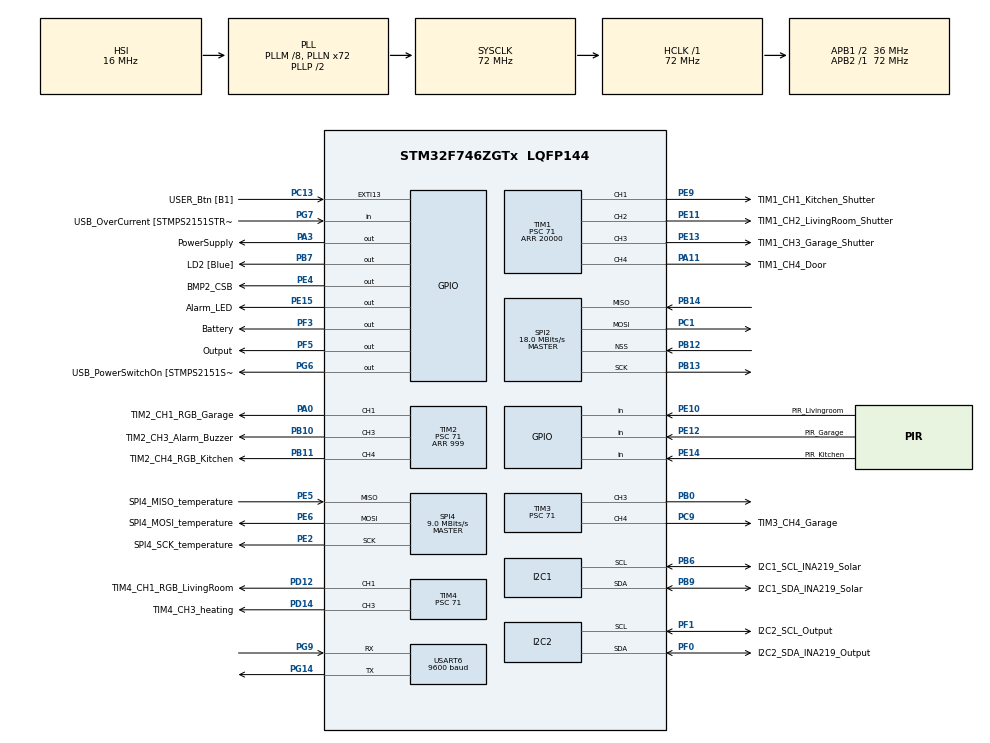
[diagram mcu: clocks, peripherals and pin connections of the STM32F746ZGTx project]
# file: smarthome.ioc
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I2C1.Timing=0x00808CD2
I2C2.Timing=0x00808CD2
Mcu.Family=STM32F7
Mcu.Name=STM32F746ZGTx
Mcu.Package=LQFP144
NVIC.EXTI15_10_IRQn=true\:0\:0\:false\:false\:true\:true\:true\:true
NVIC.PriorityGroup=NVIC_PRIORITYGROUP_4
NVIC.SPI4_IRQn=true\:0\:0\:false\:false\:true\:true\:true\:true
NVIC.TIM1_CC_IRQn=true\:0\:0\:false\:false\:true\:true\:true\:true
NVIC.TIM2_IRQn=true\:0\:0\:false\:false\:true\:true\:true\:true
NVIC.TIM3_IRQn=true\:0\:0\:false\:false\:true\:true\:true\:true
NVIC.TIM4_IRQn=true\:0\:0\:false\:false\:true\:true\:true\:true
NVIC.USART6_IRQn=true\:0\:0\:false\:false\:true\:true\:true\:true
PA0/WKUP.GPIO_Label=TIM2_CH1_RGB_Garage
PA0/WKUP.Signal=S_TIM2_CH1_ETR
PA11.GPIO_Label=TIM1_CH4_Door
PA11.Signal=S_TIM1_CH4
PA13.GPIO_Label=TMS
PA13.Mode=Serial_Wire
PA13.Signal=SYS_JTMS-SWDIO
PA14.GPIO_Label=TCK
PA14.Mode=Serial_Wire
PA14.Signal=SYS_JTCK-SWCLK
PA3.GPIO_Label=PowerSupply
PA3.Signal=GPIO_Output
PB0.Signal=S_TIM3_CH3
PB10.GPIO_Label=TIM2_CH3_Alarm_Buzzer
PB10.Signal=S_TIM2_CH3
PB11.GPIO_Label=TIM2_CH4_RGB_Kitchen
PB11.Signal=S_TIM2_CH4
PB12.Mode=NSS_Signal_Hard_Input
PB12.Signal=SPI2_NSS
PB13.Mode=Full_Duplex_Master
PB13.Signal=SPI2_SCK
PB14.Mode=Full_Duplex_Master
PB14.Signal=SPI2_MISO
PB3.GPIO_Label=SW0
PB3.Signal=SYS_JTDO-SWO
PB6.GPIO_Label=I2C1_SCL_INA219_Solar
PB6.Mode=I2C
PB6.Signal=I2C1_SCL
PB7.GPIO_Label=LD2 [Blue]
PB7.Signal=GPIO_Output
PB9.GPIO_Label=I2C1_SDA_INA219_Solar
PB9.Mode=I2C
PB9.Signal=I2C1_SDA
PC1.Mode=Full_Duplex_Master
PC1.Signal=SPI2_MOSI
PC13.GPIO_Label=USER_Btn [B1]
PC13.Signal=GPXTI13
PC14/OSC32_IN.Mode=LSE-External-Oscillator
PC14/OSC32_IN.Signal=RCC_OSC32_IN
PC15/OSC32_OUT.Mode=LSE-External-Oscillator
PC15/OSC32_OUT.Signal=RCC_OSC32_OUT
PC9.GPIO_Label=TIM3_CH4_Garage
PC9.Signal=S_TIM3_CH4
PD12.GPIO_Label=TIM4_CH1_RGB_LivingRoom
PD12.Signal=S_TIM4_CH1
PD14.GPIO_Label=TIM4_CH3_heating
PD14.Signal=S_TIM4_CH3
PD8.GPIO_Label=STLK_RX [STM32F103CBT6_PA3]
PD8.GPIO_PuPd=GPIO_PULLUP
PD8.Signal=USART3_TX
PD9.GPIO_Label=STLK_TX [STM32F103CBT6_PA2]
PD9.GPIO_PuPd=GPIO_PULLUP
PD9.Signal=USART3_RX
PE10.GPIO_Label=PIR_Livingroom
PE10.Signal=GPIO_Input
PE11.GPIO_Label=TIM1_CH2_LivingRoom_Shutter
PE11.Signal=S_TIM1_CH2
PE12.GPIO_Label=PIR_Garage
PE12.Signal=GPIO_Input
PE13.GPIO_Label=TIM1_CH3_Garage_Shutter
PE13.Signal=S_TIM1_CH3
PE14.GPIO_Label=PIR_Kitchen
PE14.Signal=GPIO_Input
PE15.GPIO_Label=Alarm_LED
PE15.Signal=GPIO_Output
PE2.GPIO_Label=SPI4_SCK_temperature
PE2.Mode=Full_Duplex_Master
PE2.Signal=SPI4_SCK
PE4.GPIO_Label=BMP2_CSB
PE4.Signal=GPIO_Output
PE5.GPIO_Label=SPI4_MISO_temperature
PE5.Mode=Full_Duplex_Master
PE5.Signal=SPI4_MISO
PE6.GPIO_Label=SPI4_MOSI_temperature
PE6.Mode=Full_Duplex_Master
PE6.Signal=SPI4_MOSI
PE9.GPIO_Label=TIM1_CH1_Kitchen_Shutter
PE9.Signal=S_TIM1_CH1
PF0.GPIO_Label=I2C2_SDA_INA219_Output
PF0.Mode=I2C
PF0.Signal=I2C2_SDA
PF1.GPIO_Label=I2C2_SCL_Output
PF1.Mode=I2C
PF1.Signal=I2C2_SCL
PF3.GPIO_Label=Battery
PF3.Signal=GPIO_Output
PF5.GPIO_Label=Output
PF5.Signal=GPIO_Output
PG14.Mode=Asynchronous
PG14.Signal=USART6_TX
PG6.GPIO_Label=USB_PowerSwitchOn [STMPS2151STR_EN]
PG6.Signal=GPIO_Output
PG7.GPIO_Label=USB_OverCurrent [STMPS2151STR_FAULT]
PG7.Signal=GPIO_Input
PG9.Mode=Asynchronous
PG9.Signal=USART6_RX
PH0/OSC_IN.GPIO_Label=MCO [STM32F103CBT6_PA8]
PH0/OSC_IN.Mode=HSE-External-Clock-Source
PH0/OSC_IN.Signal=RCC_OSC_IN
PH1/OSC_OUT.Mode=HSE-External-Clock-Source
PH1/OSC_OUT.Signal=RCC_OSC_OUT
ProjectManager.HeapSize=0x200
ProjectManager.StackSize=0x400
ProjectManager.TargetToolchain=STM32CubeIDE
RCC.48MHZClocksFreq_Value=24000000
RCC.AHBFreq_Value=72000000
RCC.APB1CLKDivider=RCC_HCLK_DIV2
RCC.APB1Freq_Value=36000000
RCC.APB1TimFreq_Value=72000000
RCC.APB2Freq_Value=72000000
RCC.APB2TimFreq_Value=72000000
RCC.CortexFreq_Value=72000000
RCC.HCLKFreq_Value=72000000
RCC.HSE_VALUE=8000000
RCC.HSI_VALUE=16000000
RCC.PLLM=8
RCC.PLLMUL=RCC_PLL_MUL9
RCC.PLLN=72
RCC.PLLQ=3
RCC.PRESCALERUSB=RCC_USBCLKSOURCE_PLL_DIV1_5
RCC.SYSCLKFreq_VALUE=72000000
RCC.SYSCLKSource=RCC_SYSCLKSOURCE_PLLCLK
RCC.SYSCLKSourceVirtual=RCC_SYSCLKSOURCE_PLLCLK
RCC.USBFreq_Value=48000000
RCC.VCOOutputFreq_Value=144000000
SH.S_TIM1_CH1.0=TIM1_CH1,PWM Generation1 CH1
SH.S_TIM1_CH2.0=TIM1_CH2,PWM Generation2 CH2
SH.S_TIM1_CH3.0=TIM1_CH3,PWM Generation3 CH3
SH.S_TIM1_CH4.0=TIM1_CH4,PWM Generation4 CH4
SH.S_TIM2_CH1_ETR.0=TIM2_CH1,PWM Generation1 CH1
SH.S_TIM2_CH3.0=TIM2_CH3,PWM Generation3 CH3
SH.S_TIM2_CH4.0=TIM2_CH4,PWM Generation4 CH4
SH.S_TIM3_CH3.0=TIM3_CH3,PWM Generation3 CH3
SH.S_TIM3_CH4.0=TIM3_CH4,PWM Generation4 CH4
SH.S_TIM4_CH1.0=TIM4_CH1,PWM Generation1 CH1
SH.S_TIM4_CH3.0=TIM4_CH3,PWM Generation3 CH3
SPI2.CalculateBaudRate=18.0 MBits/s
SPI2.Direction=SPI_DIRECTION_2LINES
SPI2.Mode=SPI_MODE_MASTER
SPI2.VirtualNSS=VM_NSSHARD
SPI2.VirtualType=VM_MASTER
SPI4.BaudRatePrescaler=SPI_BAUDRATEPRESCALER_8
SPI4.CLKPhase=SPI_PHASE_2EDGE
SPI4.CLKPolarity=SPI_POLARITY_HIGH
SPI4.CalculateBaudRate=9.0 MBits/s
SPI4.DataSize=SPI_DATASIZE_8BIT
SPI4.Direction=SPI_DIRECTION_2LINES
SPI4.Mode=SPI_MODE_MASTER
SPI4.VirtualType=VM_MASTER
TIM1.Channel-PWM\ Generation1\ CH1=TIM_CHANNEL_1
TIM1.Channel-PWM\ Generation2\ CH2=TIM_CHANNEL_2
TIM1.Channel-PWM\ Generation3\ CH3=TIM_CHANNEL_3
TIM1.Channel-PWM\ Generation4\ CH4=TIM_CHANNEL_4
TIM1.Period=20000
TIM1.Prescaler=71
TIM2.Channel-PWM\ Generation1\ CH1=TIM_CHANNEL_1
TIM2.Channel-PWM\ Generation3\ CH3=TIM_CHANNEL_3
TIM2.Channel-PWM\ Generation4\ CH4=TIM_CHANNEL_4
TIM2.Period=999
TIM2.Prescaler=71
TIM2.Pulse-PWM\ Generation1\ CH1=1000
TIM2.Pulse-PWM\ Generation3\ CH3=10
TIM3.Channel-PWM\ Generation3\ CH3=TIM_CHANNEL_3
TIM3.Channel-PWM\ Generation4\ CH4=TIM_CHANNEL_4
TIM3.Period=20000
TIM3.Prescaler=71
TIM4.Channel-PWM\ Generation1\ CH1=TIM_CHANNEL_1
TIM4.Channel-PWM\ Generation3\ CH3=TIM_CHANNEL_3
TIM4.Period=999
TIM4.Prescaler=71
TIM4.Pulse-PWM\ Generation1\ CH1=1000
USART6.BaudRate=9600
USART6.VirtualMode-Asynchronous=VM_ASYNC
VP_TIM1_VS_ClockSourceINT.Mode=Internal
VP_TIM2_VS_ClockSourceINT.Mode=Internal
VP_TIM3_VS_ClockSourceINT.Mode=Internal
VP_TIM4_VS_ClockSourceINT.Mode=Internal
board=NUCLEO-F746ZG

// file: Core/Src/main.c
/* USER CODE BEGIN Header */
/**
  ******************************************************************************
  * @file           : main.c
  * @brief          : Main program body
  ******************************************************************************
  * @attention
  *
  * Copyright (c) 2023 STMicroelectronics.
  * All rights reserved.
  *
  * This software is licensed under terms that can be found in the LICENSE file
  * in the root directory of this software component.
  * If no LICENSE file comes with this software, it is provided AS-IS.
  *
  ******************************************************************************
  */
/* USER CODE END Header */
#include "main.h"
#include "i2c.h"
#include "spi.h"
#include "tim.h"
#include "usart.h"
#include "gpio.h"

/* USER CODE BEGIN Includes */
#include <stdio.h>
#include <math.h>
#include <stdbool.h>
#include "keypad_4x4_lib.h"
#include "string.h"
#include "lcd_hd44780_lib.h"
#include "bmp2.h"
#include "bmp2_config.h"
#include "INA219.h"
#include <stdint.h>

/* USER CODE END Includes */

/* USER CODE BEGIN PV */
#define RX_BUFFER_SIZE 4
unsigned char position=1;
unsigned char max_pos=4;

char symbol[1] = {"\0"};
char buff[5];
char result[50];
char buffer[10];
uint8_t rxBuffer[10];
uint8_t rxIndex = 0;
char received[RX_BUFFER_SIZE + 1];
char lastMessage[RX_BUFFER_SIZE + 1] = "";// +1 na znak '\0' kończący string

char *mainmenu[4] = {"1.Kitchen", "2.Living room", "3.Garage", "4.Alarm"};
char *menuKitchen[4] = {"1.Lighting", "2.Shutter","",""};
char *menuKitchenLighting[4] = {"1.On","2.Off","3.Set brightness",""};
char *menuKitchenShutter[4] = {"1.Down", "2.Up","",""};
char *menuLivingroom[4] = {"1.Temperature", "2.Lighting","3.Shutter",""};
char *menuLivingroomLighting[4] = {"1.On","2.Off","3.Set brightness",""};
char *menuLivingroomTemperature[4] = {"1.Set Temp","","",""};
char *menuLivingroomShutter[4] = {"1.Down", "2.Up","",""};
char *menuGarage[4] = {"1.Lighting","2.Shutter","3.Gate",""};
char *menuGarageLighting[4] = {"1.On","2.Off","3.Set brightness",""};
char *menuGarageShutter[4] = {"1.Down", "2.Up","",""};
char *menuGarageGate[4] = {"1.Down", "2.Up","",""};
char *menuAlarm[4] = {"1.On","2.Off","3. Set Pin",""};
char **act_menu = mainmenu;

//shutter times
uint16_t shutter_up = 1200;
uint16_t shutter_down = 1200;
//gate times
uint16_t gate_up = 1200;
uint16_t gate_down = 1200;

bool refreshLCD = false;
bool alarm = false;
bool alarmLED = false;
bool alarmBeep = false;
bool PIR_Garage, PIR_Livingroom, PIR_Kitchen, PIR_detected;
bool nextStep = false;
bool kitchenShutter = false;
bool livingroomShutter = false;
bool garageShutter = false;
bool garageGate = false;

int i = 0;
int brightnessLivingroom = 500;
int brightnessKitchen = 500;
int brightnessGarage = 500;
int tempLivingroom;
int tempKitchen;
int pinKey;
int intPart;
int fracPart;
int expectedTemp=30;

//PI controler

float setpoint = 22.0f;
float_t dt = 0.01;
float_t t = 0.0;
float_t U=0, P, I, error, integral, u_wykres;

typedef struct
{
	float_t Kp;
	float_t Ki;
	float_t dt;
}pi_parameters;

typedef struct
{
	pi_parameters p;
	float_t previous_error, previous_intergral, previous_measured;
}pi_t;

pi_t my_PI = {.p.Kp=0.616, .p.Ki=225.63, .p.dt=0.001, .previous_error = 0, .previous_intergral=0, .previous_measured=0};
float_t PI_output;

double temp = 0.0f;
double press = 0.0f;
double roundedValue;

//ENERGY SYSTEM
INA219_t ina219, ina219_2;

uint32_t vbus, vshunt, current, power, vbus2, vshunt2, current2, power2;
uint16_t energymode = 1;
bool PowerSupply, Battery, Output, Solar;
float solar_volts, vshunt_volts, solar_amps, output_volts, vshunt_volts2, current_amps2, solar_power;

/* USER CODE END PV */

void SystemClock_Config(void);
/* USER CODE BEGIN PFP */
void move_menu(char *a[])
  {
	symbol[0] = keypad_readkey();
	  if (symbol[0] == 'B' && (position<max_pos)) {
	  	   	  position++;
	  	   	  refreshLCD=true;
	  	   	}

	  	   	if (symbol[0] == 'A' && (position>1)) {
	  	   	  position--;
	  	   	  refreshLCD=true;
	  	   	}
	  	  if (refreshLCD){                           //Odswiezanie LCD tylko przy zmiane zawartosci - usuwa problem "migotania" LCD
	   	  LCD_WriteCommand(HD44780_CLEAR);
	   	  LCD_WriteText("->");
	   	  LCD_WriteText(a[position-1]);
	   	  if (position<4){
	   		LCD_WriteTextXY(a[position-1+1],2,1);
	   	  }
	   	  refreshLCD=false;
	   	}
  }

double roundToTwoDecimals(double value) {
	return floor(value * 100.0 + 0.5) / 100.0;
}

//PI controller

float_t calculate_discrete_pi(pi_t* pi, float_t setpoint, float_t measured)
{
    // Obliczenie błędu
    error = setpoint - measured;

    // Część proporcjonalna
    P = pi->p.Kp * error;

    // Część całkująca
    integral = pi->previous_intergral + (error + pi->previous_error);

    // Anty-windup: korekta integratora w przypadku nasycenia
    float_t U_temp = P + pi->p.Ki * integral * (pi->p.dt / 2.0);
    if (U_temp > 1.0) {
        U_temp = 1.0;
        integral = pi->previous_intergral;
    } else if (U_temp < 0.0) {
        U_temp = 0.0;
        integral = pi->previous_intergral;
    } else {
        pi->previous_intergral = integral;
    }

    // Część całkująca
    I = pi->p.Ki * integral * (pi->p.dt / 2.0);

    // Suma części PI
    U = P + I;

    U = (U > 1.0) ? 1.0 : U;
    U = (U < 0.0) ? 0.0 : U;

    pi->previous_error = error;

    return U;
};

//ENERGY SYSTEM

// Wył/Wł PowerSupply
void PowerSupply_SetState(GPIO_PinState state) {
    HAL_GPIO_WritePin(PowerSupply_GPIO_Port, PowerSupply_Pin, state);
}

bool PowerSupply_Off(void) {
    PowerSupply_SetState(GPIO_PIN_SET);
    sendBluetoothData("PS00");
    return PowerSupply = false;
}

bool PowerSupply_On(void) {
    PowerSupply_SetState(GPIO_PIN_RESET);
    sendBluetoothData("PS01");
    return PowerSupply = true;
}

// Wył/Wł baterie
void Battery_SetState(GPIO_PinState state) {
    HAL_GPIO_WritePin(Battery_GPIO_Port, Battery_Pin, state);
}

bool Battery_Off(void) {
    Battery_SetState(GPIO_PIN_SET);
    sendBluetoothData("BT00");
    return Battery = false;
}

bool Battery_On(void) {
    Battery_SetState(GPIO_PIN_RESET);
    sendBluetoothData("BT01");
    return Battery = true;
}

// Wył/Wł wyjście
void Output_SetState(GPIO_PinState state) {
    HAL_GPIO_WritePin(Output_GPIO_Port, Output_Pin, state);
}

bool Output_Off(void) {
    Output_SetState(GPIO_PIN_SET);
    return Output = false;
}

bool Output_On(void) {
    Output_SetState(GPIO_PIN_RESET);
    return Output = true;
}

bool Solar_On(void) {
	sendBluetoothData("SP01");
    return Solar = true;
}

bool Solar_Off(void) {
	sendBluetoothData("SP00");
    return Solar = false;
}

/* USER CODE END PFP */

/* USER CODE BEGIN 0 */

void sendBluetoothData(const char* data){
	snprintf(buffer, sizeof(buffer), "%s\n", data);
	HAL_UART_Transmit(&huart6, (uint8_t*)buffer, strlen(buffer), HAL_MAX_DELAY);
	HAL_Delay(500);
}

void HAL_UART_RxCpltCallback(UART_HandleTypeDef *huart) {
    if (huart->Instance == USART6) {
        rxIndex++;

        if (rxIndex >= RX_BUFFER_SIZE) {
            rxIndex = 0;
        }
        HAL_UART_Receive_IT(huart, &rxBuffer[rxIndex], 1);
    }
}

void HAL_TIM_PeriodElapsedCallback(TIM_HandleTypeDef *htim)
{
  if(htim == &htim2)
  {
	  if((PIR_Garage == true || PIR_Kitchen == true || PIR_Livingroom == true) && alarm == true)
	  {
		  PIR_detected = true, alarmLED = true;
	  }

	  if(alarmLED == true && PIR_detected == true)
	  {
		  HAL_GPIO_TogglePin(Alarm_LED_GPIO_Port, Alarm_LED_Pin);
		  HAL_TIM_PWM_Start(&htim2, TIM_CHANNEL_3);
	  }
	  else
	  {
		  HAL_GPIO_WritePin(Alarm_LED_GPIO_Port, Alarm_LED_Pin, GPIO_PIN_RESET);
	  };
  }
    if(htim->Instance == TIM4)
    {
        BMP2_ReadData(&bmp2dev, &press, &temp);
        PI_output = calculate_discrete_pi(&my_PI, setpoint, temp);
        my_PI.previous_measured = temp;
    }
}

/* USER CODE END 0 */

int main(void)
{

  /* MCU Configuration--------------------------------------------------------*/

  /* Reset of all peripherals, Initializes the Flash interface and the Systick. */
  HAL_Init();

  /* Configure the system clock */
  SystemClock_Config();

  /* Initialize all configured peripherals */
  MX_GPIO_Init();
  MX_TIM2_Init();
  MX_TIM3_Init();
  MX_TIM4_Init();
  MX_SPI4_Init();
  MX_I2C1_Init();
  MX_USART6_UART_Init();
  MX_TIM1_Init();
  MX_I2C2_Init();
  MX_SPI2_Init();
  /* USER CODE BEGIN 2 */
  //LOAD CONFIG
  keypad_config();
  LCD_Initialize();
 //TIMERS AND INTERRUPTS
  HAL_TIM_Base_Start_IT(&htim2);
  BMP2_Init(&bmp2dev);
  HAL_TIM_Base_Start_IT(&htim4);
  HAL_TIM_PWM_Start(&htim4, TIM_CHANNEL_3);
  HAL_TIM_PWM_Start(&htim1, TIM_CHANNEL_3);
  HAL_TIM_PWM_Start(&htim3, TIM_CHANNEL_4);
  HAL_TIM_PWM_Start(&htim1, TIM_CHANNEL_1);
  HAL_TIM_PWM_Start(&htim1, TIM_CHANNEL_2);
  HAL_TIM_PWM_Start(&htim3, TIM_CHANNEL_3);
  //ENERGY SYSTEM
  INA219_Init(&ina219, &hi2c1, INA219_ADDRESS);
  INA219_Init(&ina219_2, &hi2c2, INA219_ADDRESS);
  Output_On();
  //START SCREEN
  LCD_WriteCommand(HD44780_CLEAR);
  LCD_WriteText("Welcome to");
  LCD_WriteTextXY("Smarthome system",0,1);
  HAL_Delay(3000);
  refreshLCD = true;
  HAL_UART_Receive_IT(&huart6, &rxBuffer[rxIndex], 1);  // Rozpocznij odbiór

  /* USER CODE END 2 */

  /* Infinite loop */
  /* USER CODE BEGIN WHILE */
  while (1)
  {

	  if(HAL_GPIO_ReadPin(PIR_Garage_GPIO_Port, PIR_Garage_Pin) == GPIO_PIN_SET){PIR_Garage = true;}
	  	  else {PIR_Garage = false;};
	  if(HAL_GPIO_ReadPin(PIR_Kitchen_GPIO_Port, PIR_Kitchen_Pin) == GPIO_PIN_SET){PIR_Kitchen = true;}
	  	  else {PIR_Kitchen = false;};
	  if(HAL_GPIO_ReadPin(PIR_Livingroom_GPIO_Port, PIR_Livingroom_Pin) == GPIO_PIN_SET){PIR_Livingroom = true;}
	  	  else{PIR_Livingroom = false;};
	  move_menu(act_menu);
 	if (symbol[0] == '*' && act_menu == mainmenu){
 		refreshLCD = true;
 		switch (position){
			case 1: act_menu = menuKitchen, position = 1, max_pos = 2; break;
			case 2: act_menu = menuLivingroom, position = 1, max_pos = 3; break;
			case 3: act_menu = menuGarage, position = 1, max_pos = 3; break;
			case 4:
					i = 0;
					HAL_Delay(200);
					memset(buff, 0, sizeof(buff));
					LCD_WriteCommand(HD44780_CLEAR);
					LCD_WriteText("Write PIN");
					while(1) {
						refreshLCD = true;
						symbol[0] = keypad_readkey();
						if(symbol[0] >= '0' && symbol[0] <= '9' && i < sizeof(buff) - 1) {
							buff[i] = symbol[0];
							i++;
							buff[i] = '\0';
							LCD_WriteCommand(HD44780_CLEAR);
							LCD_WriteText("PIN: ");
							LCD_WriteTextXY(buff, 0, 1);
						}
						HAL_Delay(300);
						symbol[0] = keypad_readkey();
						if(symbol[0] == '*') {
							pinKey = atoi(buff);
							if(pinKey == 1234) {
								act_menu = menuAlarm, position = 1, max_pos = 2; break;
							}
							break;
						}
						HAL_Delay(100);
					}
					break;
			default: act_menu = menuKitchen, position = 1, max_pos = 2; break;
 		}
 	}
 	else if(symbol[0] == '*' && act_menu == menuAlarm){
 		refreshLCD = true;
 		switch (position){
			case 1: alarm = true;
				PIR_detected = false;
				alarmLED = false;
				LCD_WriteCommand(HD44780_CLEAR);
				LCD_WriteText("Alarm");
				LCD_WriteTextXY("turned on",0,1);
				HAL_TIM_Base_Start_IT(&htim2);
				act_menu = mainmenu, position = 1, max_pos = 4;
				break;

 	 		case 2: alarm = false;
				PIR_detected = false;
				alarmLED = false;
				LCD_WriteCommand(HD44780_CLEAR);
				LCD_WriteText("Alarm");
				LCD_WriteTextXY("turned off",0,1);
				HAL_TIM_PWM_Stop(&htim2, TIM_CHANNEL_3);
				HAL_TIM_Base_Stop_IT(&htim2);
				act_menu = mainmenu, position = 1, max_pos = 4;
				break;

 	 		default: act_menu = menuAlarm, position = 1, max_pos = 2; break;
 		}
 	}
//	else if(symbol[0] == '*' && act_menu == menuKitchen){
//		refreshLCD = true;
//		switch (position){
//			case 1: act_menu = menuKitchenLighting, position = 1, max_pos = 3; break;
//			case 2: act_menu = menuKitchenShutter, position = 1, max_pos = 2; break;
//			default: act_menu = menuKitchen, position = 1, max_pos = 2; break;
//		}
//	}
//	else if(symbol[0] == '*' && act_menu == menuKitchenLighting){
// 		 	 		refreshLCD = true;
// 		 	 	  switch (position){
// 		 	 		case 1: LCD_WriteCommand(HD44780_CLEAR);
// 		 	 				LCD_WriteText("Light");
// 		 	 				LCD_WriteTextXY("turned on",0,1);
// 		 	 				__HAL_TIM_SET_COMPARE(&htim2, TIM_CHANNEL_4, brightnessKitchen);
// 		 	 				HAL_TIM_PWM_Start(&htim2, TIM_CHANNEL_4);
// 		 	 				break;
//
// 		 	 		case 2: LCD_WriteCommand(HD44780_CLEAR);
// 				 	 		LCD_WriteText("Light");
// 				 	 		LCD_WriteTextXY("turned off",0,1);
// 				 	 		HAL_TIM_PWM_Stop(&htim2, TIM_CHANNEL_4);
// 				 	 		break;
//
// 		 	 		case 3:
//							i = 0;
//							HAL_Delay(200);
//							memset(buff, 0, sizeof(buff));
//							LCD_WriteCommand(HD44780_CLEAR);
//							LCD_WriteText("Write Bright");
//							while(1) {
//								refreshLCD = true;
//								symbol[0] = keypad_readkey();
//								if(symbol[0] >= '0' && symbol[0] <= '9' && i < sizeof(buff) - 1) {
//									buff[i] = symbol[0];
//									i++;
//									buff[i] = '\0';
//									LCD_WriteCommand(HD44780_CLEAR);
//									LCD_WriteText("Brightness: ");
//									LCD_WriteTextXY(buff, 0, 1);
//								}
//								HAL_Delay(200);
//								symbol[0] = keypad_readkey();
//								if(symbol[0] == '*') {
//									brightnessKitchen = atoi(buff)*10;
//									if(brightnessKitchen >= 1000) {
//										brightnessKitchen = 999;
//									}
//								   __HAL_TIM_SET_COMPARE(&htim2, TIM_CHANNEL_4, brightnessKitchen);
//									act_menu = menuKitchenLighting;
//									position = 1;
//									max_pos = 3;
//									break;
//								}
//								HAL_Delay(100);
//							}
//							break;
// 		 	 		default: act_menu = menuKitchen, position = 1, max_pos = 2; break;
// 		 	 	  	  }
//	}
//
//	else if(symbol[0] == '*' && act_menu == menuKitchenShutter) {
//			refreshLCD = true;
//
//			switch(position) {
//				case 1:
//					__HAL_TIM_SET_COMPARE(&htim1,TIM_CHANNEL_1, 2000);
//					HAL_Delay(shutter_down);
//				   __HAL_TIM_SET_COMPARE(&htim1,TIM_CHANNEL_1, 0);
//				   kitchenShutter = true;
//				   LCD_WriteText("Shutter");
//				   LCD_WriteTextXY("is lowering",0,1);
//				   break;
//				case 2:
//					__HAL_TIM_SET_COMPARE(&htim1,TIM_CHANNEL_1, 500);
//					HAL_Delay(shutter_down);
//					__HAL_TIM_SET_COMPARE(&htim1, TIM_CHANNEL_1, 0);
//					kitchenShutter = false;
//					LCD_WriteText("Shutter");
//					LCD_WriteTextXY("go up",0,1);
//			}
//	}

	else if(symbol[0] == '*' && act_menu == menuLivingroom){
					refreshLCD = true;
				  switch (position){
						case 1: act_menu = menuLivingroomTemperature, position = 1, max_pos = 2; break;
						case 2: act_menu = menuLivingroomLighting, position = 1, max_pos = 3; break;
						case 3: act_menu = menuLivingroomShutter, position = 1, max_pos = 2; break;
					default: act_menu = menuLivingroom, position = 1, max_pos = 2; break;
					  }
	}
	else if(symbol[0] == '*' && act_menu == menuLivingroomLighting){
 		 	 		refreshLCD = true;
 		 	 	  switch (position){
 		 	 		case 1: LCD_WriteCommand(HD44780_CLEAR);
 		 	 				LCD_WriteText("Light");
 		 	 				LCD_WriteTextXY("turned on",0,1);
 		 	 				__HAL_TIM_SET_COMPARE(&htim4, TIM_CHANNEL_1, brightnessLivingroom);
							HAL_TIM_PWM_Start(&htim4, TIM_CHANNEL_1);
 		 	 				break;

 		 	 		case 2: LCD_WriteCommand(HD44780_CLEAR);
 				 	 		LCD_WriteText("Light");
 				 	 		LCD_WriteTextXY("turned off",0,1);
 				 	 		HAL_TIM_PWM_Stop(&htim4 , TIM_CHANNEL_1);
 				 	 		break;
 		 	 		case 3:
							i = 0;
							refreshLCD = true;
							HAL_Delay(200);
							memset(buff, 0, sizeof(buff));
							LCD_WriteCommand(HD44780_CLEAR);
							LCD_WriteText("Write Bright");
							while(1) {
								refreshLCD = true;
								symbol[0] = keypad_readkey();
								if(symbol[0] >= '0' && symbol[0] <= '9' && i < sizeof(buff) - 1) {
									buff[i] = symbol[0];
									i++;
									buff[i] = '\0';
									LCD_WriteCommand(HD44780_CLEAR);
									LCD_WriteText("Brightness: ");
									LCD_WriteTextXY(buff, 0, 1);
								}
								HAL_Delay(200);
								symbol[0] = keypad_readkey();
								if(symbol[0] == '*') {
									brightnessLivingroom = atoi(buff)*10;
									if(brightnessLivingroom >= 1000) {
										brightnessLivingroom = 999;
									}
								   __HAL_TIM_SET_COMPARE(&htim4, TIM_CHANNEL_1, brightnessLivingroom);
									act_menu = menuLivingroomLighting;
									position = 1;
									max_pos = 3;
									break;
								}
								HAL_Delay(100);
							}
							break;
 		 	 		default: act_menu = menuLivingroom, position = 1, max_pos = 1; break;
 		 	 	  	  }
 		 	 	}
	else if(symbol[0] == '*' && act_menu == menuLivingroomTemperature){
		refreshLCD = true;
		switch (position){
			case 1:i = 0;
				HAL_Delay(200);
				memset(buff, 0, sizeof(buff));
				LCD_WriteCommand(HD44780_CLEAR);
				LCD_WriteText("Write Temp");
				while(1) {
					refreshLCD = true;
					symbol[0] = keypad_readkey();
					if(symbol[0] >= '0' && symbol[0] <= '9' && i < sizeof(buff) - 1) {
						buff[i] = symbol[0];
						i++;
						buff[i] = '\0';
						LCD_WriteCommand(HD44780_CLEAR);
						LCD_WriteText("Temp: ");
						LCD_WriteTextXY(buff, 0, 1);
					}
					HAL_Delay(200);
					symbol[0] = keypad_readkey();
					if(symbol[0] == '*') {
						setpoint = atoi(buff);
						act_menu = menuLivingroomTemperature;
						position = 1;
						max_pos = 3;
						break;
					}
					HAL_Delay(100);
				}

				break;
			default: act_menu = menuKitchen, position = 1, max_pos = 2; break;
				  }
			}
	else if(symbol[0] == '*' && act_menu == menuLivingroomShutter) {
			refreshLCD = true;

			switch(position) {
				case 1:
					__HAL_TIM_SET_COMPARE(&htim1,TIM_CHANNEL_2, 500);
					HAL_Delay(shutter_down);
				   __HAL_TIM_SET_COMPARE(&htim1,TIM_CHANNEL_2, 0);
				   livingroomShutter = true;
				   LCD_WriteText("Shutter");
				   LCD_WriteTextXY("is lowering",0,1);
				   break;
				case 2:
					__HAL_TIM_SET_COMPARE(&htim1,TIM_CHANNEL_2, 2000);
					HAL_Delay(shutter_up);
					__HAL_TIM_SET_COMPARE(&htim1,TIM_CHANNEL_2, 0);
					livingroomShutter = false;
					LCD_WriteText("Shutter");
					LCD_WriteTextXY("go up",0,1);
			}
	}
	else if(symbol[0] == '*' && act_menu == menuGarage){
 		 		 	 		refreshLCD = true;
 		 		 	 	  switch (position){
 		 		 	 	  	  	case 1: act_menu = menuGarageLighting, position = 1, max_pos = 3; break;
 		 		 	 	  	  	case 2: act_menu = menuGarageShutter, position = 1, max_pos = 2; break;
 		 		 	 	  	  	case 3: act_menu = menuGarageGate, position = 1, max_pos = 2; break;
 		 		 	 		default: act_menu = menuGarage, position = 1, max_pos = 1; break;
 		 		 	 	  	  }
 		 		 	 	}
 			else if(symbol[0] == '*' && act_menu == menuGarageLighting){
 		 	 		refreshLCD = true;
 		 	 	  switch (position){
 		 	 		case 1: LCD_WriteCommand(HD44780_CLEAR);
 		 	 				LCD_WriteText("Light");
 		 	 				LCD_WriteTextXY("turned on",0,1);
 		 	 				__HAL_TIM_SET_COMPARE(&htim2, TIM_CHANNEL_1, brightnessGarage);
 		 	 				HAL_TIM_PWM_Start(&htim2, TIM_CHANNEL_1);
 		 	 				break;

 		 	 		case 2: LCD_WriteCommand(HD44780_CLEAR);
 				 	 		LCD_WriteText("Light");
 				 	 		LCD_WriteTextXY("turned off",0,1);
 				 	 		HAL_TIM_PWM_Stop(&htim2, TIM_CHANNEL_1);
 				 	 		break;

 		 	 		case 3:
							i = 0;
							refreshLCD = true;
							HAL_Delay(200);
							memset(buff, 0, sizeof(buff));
							LCD_WriteCommand(HD44780_CLEAR);
							LCD_WriteText("Write Bright");
							while(1) {
								refreshLCD = true;
								symbol[0] = keypad_readkey();
								if(symbol[0] >= '0' && symbol[0] <= '9' && i < sizeof(buff) - 1) {
									buff[i] = symbol[0];
									i++;
									buff[i] = '\0';
									LCD_WriteCommand(HD44780_CLEAR);
									LCD_WriteText("Brightness: ");
									LCD_WriteTextXY(buff, 0, 1);
								}
								HAL_Delay(200);
								symbol[0] = keypad_readkey();
								if(symbol[0] == '*') {
									brightnessGarage = atoi(buff)*10;
									if(brightnessGarage >= 1000) {
										brightnessGarage = 999;
									}
								   __HAL_TIM_SET_COMPARE(&htim2, TIM_CHANNEL_1, brightnessGarage);
									act_menu = menuGarageLighting;
									position = 1;
									max_pos = 3;
									break;
								}
								HAL_Delay(100);
							}
							break;
 		 	 		default: act_menu = menuGarage, position = 1, max_pos = 2; break;
 		 	 	  }
			}
 			else if(symbol[0] == '*' && act_menu == menuGarageShutter) {
 						refreshLCD = true;
 						switch(position) {
 							case 1:
 								__HAL_TIM_SET_COMPARE(&htim1,TIM_CHANNEL_3, 2000);
 								HAL_Delay(shutter_down);
 							   __HAL_TIM_SET_COMPARE(&htim1,TIM_CHANNEL_3, 0);
 							  garageShutter= true;
 							   LCD_WriteText("Shutter");
 							   LCD_WriteTextXY("is lowering",0,1);
 							   break;
 							case 2:
 								__HAL_TIM_SET_COMPARE(&htim1,TIM_CHANNEL_3, 500);
 								HAL_Delay(shutter_up);
 								__HAL_TIM_SET_COMPARE(&htim1,TIM_CHANNEL_3, 0);
 								garageShutter = false;
 								LCD_WriteText("Shutter");
 								LCD_WriteTextXY("go up",0,1);
 						}
 				}
 			else if(symbol[0] == '*' && act_menu == menuGarageGate) {
 			 						refreshLCD = true;

 			 						switch(position) {
 			 							case 1:
 			 								__HAL_TIM_SET_COMPARE(&htim3,TIM_CHANNEL_4, 500);
 			 								HAL_Delay(1200);
 			 							   __HAL_TIM_SET_COMPARE(&htim3,TIM_CHANNEL_4, 0);
 			 							  garageGate= true;
 			 							   LCD_WriteText("Gate");
 			 							   LCD_WriteTextXY("is lowering",0,1);
 			 							   break;
 			 							case 2:
 			 								__HAL_TIM_SET_COMPARE(&htim3,TIM_CHANNEL_4, 2000);
 			 								HAL_Delay(1200);
 			 								__HAL_TIM_SET_COMPARE(&htim3,TIM_CHANNEL_4, 0);
 			 								garageGate = false;
 			 								LCD_WriteText("Gate");
 			 								LCD_WriteTextXY("go up",0,1);
 			 						}
 			 				}

 	if (symbol[0] == '#')
 	{
 		refreshLCD = true;
 		act_menu = mainmenu;
 		position = 1;
 		max_pos = 4;
 	}

 	__HAL_TIM_SET_COMPARE(&htim4, TIM_CHANNEL_3, U*1000);

 	HAL_Delay(200);
 	///////////////SYSTEM TEMPERATURY///////////////////////////////////////////////////
 	BMP2_ReadData(&bmp2dev, &press, &temp);
 	 	roundedValue = roundToTwoDecimals(temp);
 	 	int twoDigits = (int)roundedValue % 100;
 	 	char bufferTemp[4];
 		sprintf(bufferTemp, "TM%02d", twoDigits);
 		sendBluetoothData(bufferTemp);
 	///////////////SYSTEM ZASILANIA///////////////////////////////////////////////////
 	vbus = INA219_ReadBusVoltage(&ina219);
 		 	   vshunt = INA219_ReadShuntVolage(&ina219);
 		 	   current = INA219_ReadCurrent(&ina219);
 		 	   power = vbus * current;
 		 	   int threeDigits = power /10000;
 		 	   char bufferPower[10];
 		 	   sprintf(bufferPower, "W%03d", threeDigits);
 		 	   sendBluetoothData(bufferPower);

 		 	   // Konwersja na jednostki podstawowe (V i A)
 		 	    solar_volts = vbus / 1000.0;  // mV -> V
 		 	    vshunt_volts = vshunt / 1000.0; // mV -> V
 		 	    solar_amps = current / 1000.0; // mA -> A

 		 	//        Zaokrąglanie do 3 miejsc po przecinku
 		 	       solar_volts = round(solar_volts * 1000) / 1000;
 		 	       vshunt_volts = round(vshunt_volts * 1000) / 1000;
 		 	       solar_amps = round(solar_amps * 1000) / 1000;
 		 	       solar_power = solar_volts * solar_amps;

 		  vbus2 = INA219_ReadBusVoltage(&ina219_2);
 		   vshunt2 = INA219_ReadShuntVolage(&ina219_2);
 			   current2 = INA219_ReadCurrent(&ina219_2);
 			   power2 = vbus2 * current2;

 			   // Konwersja na jednostki podstawowe (V i A)
 			   	 	    output_volts = vbus2 / 1000.0;  // mV -> V
 			   	 	    vshunt_volts2 = vshunt2 / 1000.0; // mV -> V
 			   	 	    current_amps2 = current2 / 1000.0; // mA -> A

 			   	 	      //  Zaokrąglanie do 3 miejsc po przecinku
 			   	 	       output_volts = round(output_volts * 1000) / 1000;
 			   	 	       vshunt_volts2 = round(vshunt_volts2 * 1000) / 1000;
 			   	 	       current_amps2 = round(current_amps2 * 1000) /  1000;
 	    if(Output == true)
 	    {
 		if(solar_volts >= 4.7) energymode = 1;
 		else if(PowerSupply == false && solar_volts < 4.6 && energymode != 2) energymode = 2;
 		if(output_volts < 4) energymode = 3;
 	    }
 		if(Output == false) energymode = 4; //wylaczenie zasilania, panel jesli jest w stanie to ładuje akumulator
 		switch (energymode) {
 		case 1:
 			PowerSupply_Off();
 			Battery_Off();
 			Solar_On();
 			break;
 		case 2:
 			Battery_On();
 			Solar_Off();
 			break;

 		case 3:
 			Battery_Off();
 			PowerSupply_On();
 			Solar_Off();

 			break;
 		case 4:
 			PowerSupply_Off();
 			Battery_Off();
 			Solar_Off();
 			break;
 		}
 	////////////////////////////////////////////////////////////////////////////////////
 	for (int i = 0; i < RX_BUFFER_SIZE; i++) {
 	    received[i] = rxBuffer[i]; // Kopiuj dane
 	}
 	received[RX_BUFFER_SIZE] = '\0'; // Dodaj znak końca stringa
 	//Wyłączenie światła w kuchnii
 	if (strcmp(received, "LK00") == 0 && strcmp(lastMessage, "LK00") != 0) {
 	    HAL_TIM_PWM_Stop(&htim2, TIM_CHANNEL_4);
 	    strcpy(lastMessage, "LK00");
 	}
 	//Włączenie światła w kuchnii
 	if (strcmp(received, "LK01") == 0 && strcmp(lastMessage, "LK01") != 0) {
 	 	__HAL_TIM_SET_COMPARE(&htim2, TIM_CHANNEL_4, brightnessKitchen);
 	 	HAL_TIM_PWM_Start(&htim2, TIM_CHANNEL_4);
 	 	strcpy(lastMessage, "LK01");
 	}
 	//Wyłączenie światła w salonie
 	if (strcmp(received, "LL00") == 0 && strcmp(lastMessage, "LL00") != 0) {
 	 	HAL_TIM_PWM_Stop(&htim4, TIM_CHANNEL_1);
 	 	strcpy(lastMessage, "LL00");
 	}
 	//Włączenie światła w salonie
 	if (strcmp(received, "LL01") == 0 && strcmp(lastMessage, "LL01") != 0) {
 	 	__HAL_TIM_SET_COMPARE(&htim4, TIM_CHANNEL_1, brightnessLivingroom);
 	 	HAL_TIM_PWM_Start(&htim4, TIM_CHANNEL_1);
 	 	strcpy(lastMessage, "LL01");
 	}

 	if (strcmp(received, "LG00") == 0 && strcmp(lastMessage, "LG00") != 0) {
 	 	HAL_TIM_PWM_Stop(&htim2, TIM_CHANNEL_1);
 	 	strcpy(lastMessage, "LG00");
 	}

 	if (strcmp(received, "LG01") == 0 && strcmp(lastMessage, "LG01") != 0) {
 	 	__HAL_TIM_SET_COMPARE(&htim2, TIM_CHANNEL_1, brightnessGarage);
 	 	HAL_TIM_PWM_Start(&htim2, TIM_CHANNEL_1);
 	 	strcpy(lastMessage, "LG01");
 	}

 	if(rxBuffer[0]=='X')  //Suwak jasności kuchnia
 	{
 		brightnessKitchen = (received[1] - '0') * 1000
 		                  + (received[2] - '0') * 100
 		                  + (received[3] - '0')* 10;
 		__HAL_TIM_SET_COMPARE(&htim2, TIM_CHANNEL_4, brightnessKitchen);
 	}

 	if(received[0]=='Y')	//Suwak jasności salon
 	{
 		brightnessLivingroom = (received[1] - '0') * 1000
                 + (received[2] - '0') * 100
                 + (received[3] - '0') * 10;
 		__HAL_TIM_SET_COMPARE(&htim4, TIM_CHANNEL_1, brightnessLivingroom);
 	}
 	if(received[0]=='Z')	//Suwak jasności garaż
 	{
 		brightnessGarage = (received[1] - '0') * 1000
                 + (received[2] - '0') * 100
                 + (received[3] - '0') * 10;
 		__HAL_TIM_SET_COMPARE(&htim2, TIM_CHANNEL_1, brightnessGarage);
 	}
 	//Włączenie alarmu
 	if (strcmp(received, "AL01") == 0 && strcmp(lastMessage, "AL01") != 0)
 	{
 		alarm = true;
		PIR_detected = false;
		alarmLED = false;
		HAL_TIM_Base_Start_IT(&htim2);
 	}
 	//Wyłączenie alarmu
 	if (strcmp(received, "AL00") == 0 && strcmp(lastMessage, "AL00") != 0)
 	{
 		alarm = false;
		PIR_detected = false;
		alarmLED = false;
		HAL_TIM_PWM_Stop(&htim2, TIM_CHANNEL_3);
		HAL_TIM_Base_Stop_IT(&htim2);
 	}
 	//Zamknięcie drzwi
	if (strcmp(received, "DM00") == 0 && strcmp(lastMessage, "DM00") != 0)
	{
		__HAL_TIM_SET_COMPARE(&htim3,TIM_CHANNEL_3, 500);
		strcpy(lastMessage, "DM00");
	}

	//Otwarcie drzwi
	 if (strcmp(received, "DM01") == 0 && strcmp(lastMessage, "DM01") != 0)
	 {
		 __HAL_TIM_SET_COMPARE(&htim3,TIM_CHANNEL_3, 1500);
		strcpy(lastMessage, "DM01");
	 }

	 //Zamknięcie bramy
	if (strcmp(received, "GM00") == 0 && strcmp(lastMessage, "GM00") != 0)
	{
		__HAL_TIM_SET_COMPARE(&htim3,TIM_CHANNEL_4, 500);
		HAL_Delay(gate_down);
		__HAL_TIM_SET_COMPARE(&htim3,TIM_CHANNEL_4, 0);
		garageGate= true;

		strcpy(lastMessage, "GM00");
	}

	//Otwarcie bramy
	if (strcmp(received, "GM01") == 0 && strcmp(lastMessage, "GM01") != 0)
	{
		__HAL_TIM_SET_COMPARE(&htim3,TIM_CHANNEL_4, 2000);
		HAL_Delay(gate_up);
		__HAL_TIM_SET_COMPARE(&htim3,TIM_CHANNEL_4, 0);
		garageGate = false;

		strcpy(lastMessage, "GM01");
	}

	//Zamknięcie rolety w kuchnii
	if (strcmp(received, "SK00") == 0 && strcmp(lastMessage, "SK00") != 0)
	{

		__HAL_TIM_SET_COMPARE(&htim1,TIM_CHANNEL_1, 2000);
		HAL_Delay(1200);
	   __HAL_TIM_SET_COMPARE(&htim1,TIM_CHANNEL_1, 0);
	   kitchenShutter = true;
		strcpy(lastMessage, "SK00");
	}

	//Otwarcie rolety w kuchnii
	if (strcmp(received, "SK01") == 0 && strcmp(lastMessage, "SK01") != 0)
	{
		__HAL_TIM_SET_COMPARE(&htim1,TIM_CHANNEL_1, 500);
		HAL_Delay(1200);
		__HAL_TIM_SET_COMPARE(&htim1, TIM_CHANNEL_1, 0);
		kitchenShutter = false;
		strcpy(lastMessage, "SK01");
	}

	//Zamknięcie rolety w salonie
	if (strcmp(received, "SL00") == 0 && strcmp(lastMessage, "SL00") != 0)
	{

		__HAL_TIM_SET_COMPARE(&htim1,TIM_CHANNEL_2, 2000);
		HAL_Delay(shutter_down);
	   __HAL_TIM_SET_COMPARE(&htim1,TIM_CHANNEL_2, 0);
	   livingroomShutter = true;
		strcpy(lastMessage, "SL00");
	}

	//Otwarcie rolety w salonie
	if (strcmp(received, "SL01") == 0 && strcmp(lastMessage, "SL01") != 0)
	{
		__HAL_TIM_SET_COMPARE(&htim1,TIM_CHANNEL_2, 500);
		HAL_Delay(shutter_up);
		__HAL_TIM_SET_COMPARE(&htim1,TIM_CHANNEL_2, 0);
		livingroomShutter = false;
		strcpy(lastMessage, "SL01");
	}

	//Zamknięcie rolety w garażu
	if (strcmp(received, "SG00") == 0 && strcmp(lastMessage, "SG00") != 0)
	{
		__HAL_TIM_SET_COMPARE(&htim1,TIM_CHANNEL_3, 2000);
		HAL_Delay(800);
	    __HAL_TIM_SET_COMPARE(&htim1,TIM_CHANNEL_3, 0);
	   	garageShutter= true;
		strcpy(lastMessage, "SG00");
	}

	//Otwarcie rolety w garażu
	if (strcmp(received, "SG01") == 0 && strcmp(lastMessage, "SG01") != 0)
	{
		__HAL_TIM_SET_COMPARE(&htim1,TIM_CHANNEL_3, 500);
		HAL_Delay(800);
		__HAL_TIM_SET_COMPARE(&htim1,TIM_CHANNEL_3, 0);
		garageShutter = false;
		strcpy(lastMessage, "SG01");
	}

	//Wyłączenie systemu zasilania
	if (strcmp(received, "PW00") == 0 && strcmp(lastMessage, "PW00") != 0)
	{
		Output_Off();

		strcpy(lastMessage, "PW00");
	}

	//Włączenie systemu zasilania
	if (strcmp(received, "PW01") == 0 && strcmp(lastMessage, "PW01") != 0)
	{
		Output_On();

		strcpy(lastMessage, "PW01");
	}

	//Odbieranie zadanej temperatury
	if(received[0]=='T' && received[1]=='M' )
	{
		setpoint = (received[2] - '0') * 10 + (received[3] - '0');

	}

	memset(rxBuffer, 0, sizeof(rxBuffer));
 	////////////////////////////////////////////////////////////////////////////////////
    /* USER CODE END WHILE */

  }
}

void SystemClock_Config(void)
{
  RCC_OscInitTypeDef RCC_OscInitStruct = {0};
  RCC_ClkInitTypeDef RCC_ClkInitStruct = {0};

  /** Configure LSE Drive Capability
  */
  HAL_PWR_EnableBkUpAccess();

  /** Configure the main internal regulator output voltage
  */
  __HAL_RCC_PWR_CLK_ENABLE();
  __HAL_PWR_VOLTAGESCALING_CONFIG(PWR_REGULATOR_VOLTAGE_SCALE3);

  /** Initializes the RCC Oscillators according to the specified parameters
  * in the RCC_OscInitTypeDef structure.
  */
  RCC_OscInitStruct.OscillatorType = RCC_OSCILLATORTYPE_HSI;
  RCC_OscInitStruct.HSIState = RCC_HSI_ON;
  RCC_OscInitStruct.HSICalibrationValue = RCC_HSICALIBRATION_DEFAULT;
  RCC_OscInitStruct.PLL.PLLState = RCC_PLL_ON;
  RCC_OscInitStruct.PLL.PLLSource = RCC_PLLSOURCE_HSI;
  RCC_OscInitStruct.PLL.PLLM = 8;
  RCC_OscInitStruct.PLL.PLLN = 72;
  RCC_OscInitStruct.PLL.PLLP = RCC_PLLP_DIV2;
  RCC_OscInitStruct.PLL.PLLQ = 3;
  if (HAL_RCC_OscConfig(&RCC_OscInitStruct) != HAL_OK)
  {
    Error_Handler();
  }

  /** Initializes the CPU, AHB and APB buses clocks
  */
  RCC_ClkInitStruct.ClockType = RCC_CLOCKTYPE_HCLK|RCC_CLOCKTYPE_SYSCLK
                              |RCC_CLOCKTYPE_PCLK1|RCC_CLOCKTYPE_PCLK2;
  RCC_ClkInitStruct.SYSCLKSource = RCC_SYSCLKSOURCE_PLLCLK;
  RCC_ClkInitStruct.AHBCLKDivider = RCC_SYSCLK_DIV1;
  RCC_ClkInitStruct.APB1CLKDivider = RCC_HCLK_DIV2;
  RCC_ClkInitStruct.APB2CLKDivider = RCC_HCLK_DIV1;

  if (HAL_RCC_ClockConfig(&RCC_ClkInitStruct, FLASH_LATENCY_2) != HAL_OK)
  {
    Error_Handler();
  }
}

void Error_Handler(void)
{
  __disable_irq();
  while (1)
  {
  }
}
